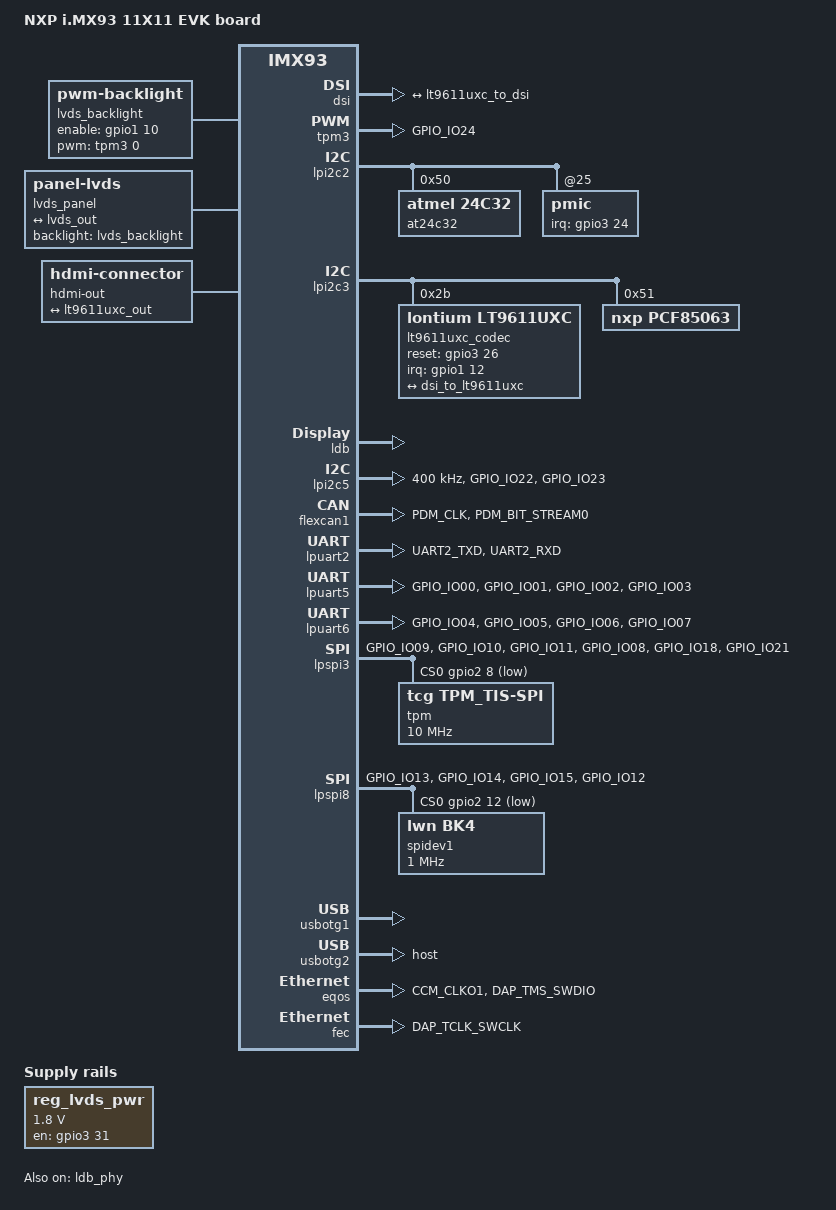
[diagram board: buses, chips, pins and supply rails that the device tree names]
/dts-v1/;

#include "imx93-11x11-evk.dts"
#include <dt-bindings/gpio/gpio.h>

/ {
	model = "NXP i.MX93 11X11 EVK board";

    aliases {
        rtc0 = &pcf85063;
    };

    lvds_backlight: lvds_backlight {
		compatible = "pwm-backlight";
		pwms = <&tpm3 0 5000000 0>;
		enable-gpios = <&gpio1 10 GPIO_ACTIVE_HIGH>;
		status = "okay";

		brightness-levels = <
			0   1   2   3   4   5   6   7   8   9
			10  11  12  13  14  15  16  17  18  19
			20  21  22  23  24  25  26  27  28  29
			30  31  32  33  34  35  36  37  38  39
			40  41  42  43  44  45  46  47  48  49
			50  51  52  53  54  55  56  57  58  59
			60  61  62  63  64  65  66  67  68  69
			70  71  72  73  74  75  76  77  78  79
			80  81  82  83  84  85  86  87  88  89
			90  91  92  93  94  95  96  97  98  99
			100 101 102 103 104 105 106 107 108 109
			110 111 112 113 114 115 116 117 118 119
			120 121 122 123 124 125 126 127 128 129
			130 131 132 133 134 135 136 137 138 139
			140 141 142 143 144 145 146 147 148 149
			150 151 152 153 154 155 156 157 158 159
			160 161 162 163 164 165 166 167 168 169
			170 171 172 173 174 175 176 177 178 179
			180 181 182 183 184 185 186 187 188 189
			190 191 192 193 194 195 196 197 198 199
			200 201 202 203 204 205 206 207 208 209
			210 211 212 213 214 215 216 217 218 219
			220 221 222 223 224 225 226 227 228 229
			230 231 232 233 234 235 236 237 238 239
			240 241 242 243 244 245 246 247 248 249
			250 251 252 253 254 255
		>;
		default-brightness-level = <128>;
		max-brightness = <255>;
	};

	lvds_panel {
		compatible = "panel-lvds";
		backlight = <&lvds_backlight>;
		width-mm = <216>;
		height-mm = <135>;
		data-mapping = "jeida-24";
		data-width = <24>;
		status = "okay";

		panel-timing {
			clock-frequency = <74250000>;
			// hactive = <1280>;
			// vactive = <800>;
			// hback-porch = <64>;
			// hfront-porch = <42>;
			// vback-porch = <49>;
			// vfront-porch = <20>;
			// hsync-len = <22>;
			// vsync-len = <20>;
			// de-active = <1>;
			hactive = <1280>;
			vactive = <720>;
			hfront-porch = <110>;
			hback-porch = <220>;
			hsync-len = <40>;
			vfront-porch = <5>;
			vback-porch = <20>;
			vsync-len = <5>;
			de-active = <1>;
		};

		port {
			panel_lvds_in: endpoint {
				remote-endpoint = <&lvds_out>;
			};
		};
	};

	hdmi-out {
		compatible = "hdmi-connector";
		type = "a";
		port {
			hdmi_con: endpoint {
				remote-endpoint = <&lt9611uxc_out>;
			};
		};
	};

	sound-hdmi {
		status = "okay";
		compatible = "simple-audio-card";
		simple-audio-card,format = "i2s";
		simple-audio-card,name = "lt9611uxc-hdmi";
		simple-audio-card,bitclock-master = <&sound_hdmi>;
		simple-audio-card,frame-master = <&sound_hdmi>;
		sound_hdmi:  simple-audio-card,cpu {
			sound-dai = <&sai3>;
 		};

		simple-audio-card,codec {
			sound-dai = <&lt9611uxc_codec>;
			clocks = <&clk IMX93_CLK_SAI3_GATE>;
		};
	};

    reg_lvds_pwr: regulator-lvds-pwr {
        compatible = "regulator-fixed";
		pinctrl-names = "default";
		pinctrl-0 = <&pinctrl_lvds_en>;
        regulator-name = "lvds-pwr";
		regulator-min-microvolt = <1800000>;
		regulator-max-microvolt = <1800000>;
        gpio = <&gpio3 31 GPIO_ACTIVE_HIGH>;
        enable-active-high;
        regulator-always-on;
    };
};

&sai3 {
	#sound-dai-cells = <0>;
	/delete-property/ assigned-clock-rates;
	/delete-property/ pinctrl-1;
	assigned-clock-rates = <49152000>;
	clocks = <&clk IMX93_CLK_SAI3_IPG>, <&clk IMX93_CLK_DUMMY>,
			<&clk IMX93_CLK_SAI3_GATE>, <&clk IMX93_CLK_DUMMY>,
			<&clk IMX93_CLK_DUMMY>, <&clk IMX93_CLK_AUDIO_PLL>;
	clock-names = "bus", "mclk0", "mclk1", "mclk2", "mclk3", "pll8k";
};

&dsi {
	dsi-lanes = <4>;
    ports {
		#address-cells = <1>;
        #size-cells = <0>;

		port@1 {
			reg = <1>;

            /delete-node/ endpoint;

			dsi_to_lt9611uxc: endpoint {
				remote-endpoint = <&lt9611uxc_to_dsi>;
			};
		};
	};
};

&tpm3 {
    pinctrl-names = "default";
	pinctrl-0 = <&pinctrl_tpm3>;
    status = "okay";
};

&adv7535 {
    status = "disabled";
    /delete-node/ port;
};

&bbnsm_rtc {
    status = "disabled";
};

&usdhc3 {
    status = "disabled";
};

&bt_sco_codec {
    status = "disabled";
};

&lpi2c2 {
    at24c32: eeprom@50 {
        compatible = "atmel,24c32";
        reg = <0x50>;
        /* read-only; */
		#address-cells = <1>;
		#size-cells = <1>;
		baseboard_data: baseboard_data@0 {
			reg = <0 0x100>;
        };
    };

    pmic@25 {
        /delete-property/ interrupt-parent;
        /delete-property/ interrupts;

        interrupt-parent = <&gpio3>;
        interrupts = <24 IRQ_TYPE_EDGE_FALLING>;
    };
};

&lpi2c3 {
	lt9611uxc_codec: hdmi-bridge@2b {
		compatible = "lontium,lt9611uxc";
		reg = <0x2b>;
		#sound-dai-cells = <0>;
		interrupts-extended = <&gpio1 12 IRQ_TYPE_EDGE_FALLING>;
		reset-gpios = <&gpio3 26 GPIO_ACTIVE_HIGH>;
		status = "okay";

		ports {
			#address-cells = <1>;
			#size-cells = <0>;

			port@0 {
				reg = <0>;
				lt9611uxc_to_dsi: endpoint {
					remote-endpoint = <&dsi_to_lt9611uxc>;
				};
			};

			port@2 {
				reg = <2>;
				lt9611uxc_out: endpoint {
					remote-endpoing = <&hdmi_con>;
				};
			};
		};
	};

    pcf85063: rtc@51 {
        compatible = "nxp,pcf85063";
        reg = <0x51>;
        status = "okay";
    };
};

&lcdif {
    /delete-property/ assigned-clock-rates;
	// <VIDEO PLL>, <PIX CLK>, <MEDIA_AXI>, <MEDIA_APB>
	assigned-clock-rates = <519750000>, <74250000>, <400000000>, <133333333>;
};

&ldb {
	status = "okay";

	lvds-channel@0 {
		fsl,data-mapping = "jeida";
		fsl,data-width = <24>;
		status = "okay";

		port@1 {
			reg = <1>;

			lvds_out: endpoint {
				remote-endpoint = <&panel_lvds_in>;
			};
		};
	};
};

&ldb_phy {
	status = "okay";
};

&lpi2c5 {
	#address-cells = <1>;
	#size-cells = <0>;
	clock-frequency = <400000>;
	pinctrl-names = "default";
	pinctrl-0 = <&pinctrl_lpi2c5>;
	status = "okay";
};

&flexcan1 {
	pinctrl-names = "default";
	pinctrl-0 = <&pinctrl_flexcan1>;
	status = "okay";
};

&flexcan2 {
    /delete-property/ pinctrl-1;
    /delete-property/ xceiver-supply;
};

// SER3
&lpuart2 {
	pinctrl-names = "default";
	pinctrl-0 = <&pinctrl_uart2>;
	status = "okay";
};

// SER0
&lpuart5 {
    pinctrl-names = "default";
    pinctrl-0 = <&pinctrl_uart5>;
    status = "okay";

    /delete-property/ pinctrl-assert-gpios;
	/delete-node/ bluetooth;
};

// SER2
&lpuart6 {
    pinctrl-names = "default";
    pinctrl-0 = <&pinctrl_uart6>;
    status = "okay";
};

&wdog3 {
    pinctrl-names = "default";
    pinctrl-0 = <&pinctrl_wdog>;
    fsl,ext-reset-output;
};

&lpspi3 {
	fsl,spi-num-chipselects = <1>;
    pinctrl-names = "default";
    pinctrl-0 = <&pinctrl_lpspi3>;
    cs-gpios = <&gpio2 8 GPIO_ACTIVE_LOW>;
    status = "okay";

    tpm: npct750@0 {
        compatible = "tcg,tpm_tis-spi";
        reg = <0>;
		spi-max-frequency = <10000000>;
        
		status = "okay";
    };
};

&lpspi8 {
	pinctrl-names = "default";
	pinctrl-0 = <&pinctrl_lpspi8>;
	cs-gpios = <&gpio2 12 GPIO_ACTIVE_LOW>;
	status = "okay";

	spidev1: spi@0 {
		reg = <0>;
		compatible = "lwn,bk4";
		spi-max-frequency = <1000000>;
	};
};

&xcvr {
    status = "disabled";
};

&micfil {
    status = "disabled";
};

&ptn5110 {
    status = "disabled";
    /delete-node/ port;
};

&usbotg1 {
    status = "okay";

    /delete-property/ usb-role-switch;
    /delete-property/ disable-over-current;
    /delete-node/ port;
};

&ptn5110_2 {
    status = "disabled";
    /delete-node/ port;
};

&usbotg2 {
	dr_mode = "host";
	status = "okay";

	/delete-property/ hnp-disable;
	/delete-property/ srp-disable;
	/delete-property/ adp-disable;
	/delete-property/ usb-role-switch;
	/delete-property/ disable-over-current;
	/delete-property/ samsung,picophy-pre-emp-curr-control;
	/delete-property/ samsung,picophy-dc-vol-level-adjust;

	/delete-node/ port;
};


&eqos {
	pinctrl-0 = <&pinctrl_eqos>, <&pinctrl_eqos_rst>;
};

// eqos
&ethphy1 {
	/delete-property/ reset-gpios;
	// reset-gpios = <&gpio3 26 GPIO_ACTIVE_LOW>;
	// interrupt-parent = <&gpio3>;
	// interrupts = <29 IRQ_TYPE_LEVEL_LOW>;
};

&sai1 {
	status = "disabled";
};

&fec {
	pinctrl-0 = <&pinctrl_fec>, <&pinctrl_fec_rts>;
};

// fec
&ethphy2 {
	/delete-property/ reset-gpios;
    reset-gpios = <&gpio3 30 GPIO_ACTIVE_LOW>;
};

&cpu_alert {
	temperature = <110000>;
};

&cpu_crit {
	temperature = <115000>;
};

&iomuxc {
	pinctrl_eqos_rst: eqos-rst-grp {
		fsl,pins = <
			MX93_PAD_CCM_CLKO1__GPIO3_IO26		0x31e
			MX93_PAD_DAP_TMS_SWDIO__GPIO3_IO29	0x31e
		>;
	};

	pinctrl_fec_rts: fec-rst-grp {
		fsl,pins = <
			MX93_PAD_DAP_TCLK_SWCLK__GPIO3_IO30		0x31e
		>;
	};

	// pinctrl_lt9611uxc: lt9611uxcgrp {
	// 	fsl,pins = <
	// 		MX93_PAD_CCM_CLKO1__GPIO3_IO26		0x31e
	// 		MX93_PAD_SAI1_TXC__GPIO1_IO12		0x31e
	// 	>;
	// };

	pinctrl_lvds_en: lvds-en {
		fsl,pins = <
			MX93_PAD_DAP_TDO_TRACESWO__GPIO3_IO31	0x31e
		>;
	};

    pinctrl_wdog: wdoggrp {
		fsl,pins = <
			MX93_PAD_WDOG_ANY__WDOG1_WDOG_ANY	0x31e
		>;
	};

	pinctrl_tpm3: tpm3grp {
		fsl,pins = <
			MX93_PAD_GPIO_IO24__TPM3_CH3		0x19e
		>;
	};

    pinctrl_lpi2c5: lpi2c5grp {
		fsl,pins = <
			MX93_PAD_GPIO_IO22__LPI2C5_SDA			0x40000b9e
			MX93_PAD_GPIO_IO23__LPI2C5_SCL			0x40000b9e
		>;
	};

    pinctrl_flexcan1: flexcan1grp {
		fsl,pins = <
			MX93_PAD_PDM_CLK__CAN1_TX			0x139e
			MX93_PAD_PDM_BIT_STREAM0__CAN1_RX	0x139e
		>;
	};

    pinctrl_uart2: uart2grp {
		fsl,pins = <
			MX93_PAD_UART2_TXD__LPUART2_TX			0x31e
			MX93_PAD_UART2_RXD__LPUART2_RX			0x31e
		>;
	};

    pinctrl_uart5: uart5grp {
        fsl,pins = <
            MX93_PAD_GPIO_IO00__LPUART5_TX      0x31e
            MX93_PAD_GPIO_IO01__LPUART5_RX      0x31e
            MX93_PAD_GPIO_IO02__LPUART5_CTS_B   0x31e
            MX93_PAD_GPIO_IO03__LPUART5_RTS_B   0x31e
        >;
    };

    pinctrl_uart6: uart6grp {
        fsl,pins = <
            MX93_PAD_GPIO_IO04__LPUART6_TX      0x31e
            MX93_PAD_GPIO_IO05__LPUART6_RX      0x31e
            MX93_PAD_GPIO_IO06__LPUART6_CTS_B   0x31e
            MX93_PAD_GPIO_IO07__LPUART6_RTS_B   0x31e
        >;
    };

    pinctrl_lpspi3: lpspi3grp {
        fsl,pins = <
            MX93_PAD_GPIO_IO09__LPSPI3_SIN          0x3fe
            MX93_PAD_GPIO_IO10__LPSPI3_SOUT         0x3fe
            MX93_PAD_GPIO_IO11__LPSPI3_SCK          0x3fe
            MX93_PAD_GPIO_IO08__GPIO2_IO08          0x31e
			MX93_PAD_GPIO_IO18__GPIO2_IO18			0x31e
			MX93_PAD_GPIO_IO21__GPIO2_IO21			0x31e
        >;
    };

    pinctrl_lpspi8: lpspi8grp {
		fsl,pins = <
			MX93_PAD_GPIO_IO13__LPSPI8_SIN		0x3fe
			MX93_PAD_GPIO_IO14__LPSPI8_SOUT		0x3fe
			MX93_PAD_GPIO_IO15__LPSPI8_SCK		0x3fe
			MX93_PAD_GPIO_IO12__GPIO2_IO12		0x3fe
		>;
	};
};
